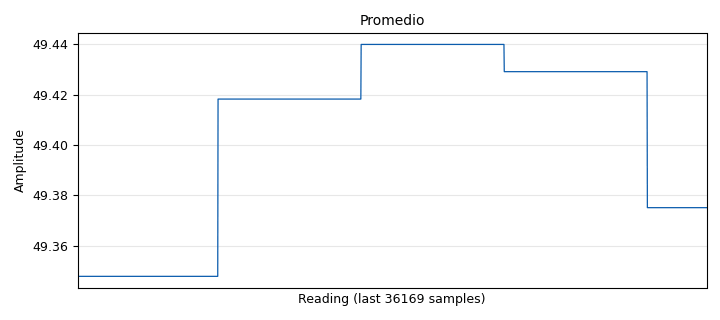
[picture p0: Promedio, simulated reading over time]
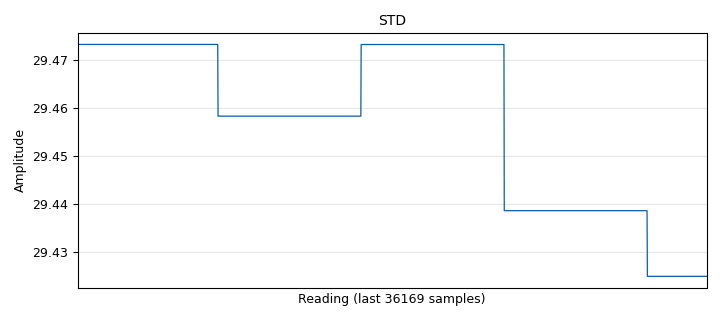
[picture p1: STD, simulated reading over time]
options:
  parameters:
    generate_options: qt_gui
    id: Practica_1
    output_language: python
    title: Not titled yet
  states: {}

blocks:
- name: samp_rate
  id: variable
  parameters:
    value: '32000'
  states: {}
- name: Promedio
  id: qtgui_number_sink
  parameters:
    graph_type: qtgui.NUM_GRAPH_HORIZ
    name: Promedio
    type: float
  states: {}
- name: STD
  id: qtgui_number_sink
  parameters:
    graph_type: qtgui.NUM_GRAPH_HORIZ
    name: STD
    type: float
  states: {}
- name: Var
  id: qtgui_number_sink
  parameters:
    graph_type: qtgui.NUM_GRAPH_HORIZ
    name: VAR
    type: float
  states: {}
- name: analog_random_source_x_0
  id: analog_random_source_x
  parameters:
    max: '100'
    min: '0'
    num_samps: '1000'
    repeat: 'True'
    type: int
  states: {}
- name: blocks_int_to_float_0
  id: blocks_int_to_float
  parameters:
    scale: '1'
  states: {}
- name: epy_block_0
  id: epy_block
  parameters:
    _source_code: |
      """
      Embedded Python Blocks:

      Each time this file is saved, GRC will instantiate the first class it finds
      to get ports and parameters of your block. The arguments to __init__  will
      be the parameters. All of them are required to have default values!
      """

      import numpy as np
      from gnuradio import gr


      class blk(gr.sync_block):  # other base classes are basic_block, decim_block, interp_block
          """Embedded Python Block example - a simple multiply const"""

          def __init__(self, example_param=1.0):  # only default arguments here
              """arguments to this function show up as parameters in GRC"""
              gr.sync_block.__init__(
                  self,
                  name='Estadistica',   # will show up in GRC
                  in_sig=[np.float32],
                  out_sig=[np.float32,np.float32,np.float32]
              )
              # if an attribute with the same name as a parameter is found,
              # a callback is registered (properties work, too).
              self.example_param = example_param
              self.acum_anterior=0

          def work(self, input_items, output_items):
              """example: multiply with constant"""

              ##----------------------------------Creating the algorithm------------------------------

              In=input_items[0] #---------------Selecting the input wanted------------------------
              Promedio=output_items[0] #-------------Selecting the output wanted------------------------
              DesviacionStandar=output_items[1]
              Varianza=output_items[2]


              #----------------------------Process-----------------------------------

              Promedio[:]=np.mean(In)
              DesviacionStandar[:]=np.std(In)
              Varianza[:]=np.var(In)
              

              


             
              return len(In)
    example_param: '1.0'
  states: {}

connections:
- [analog_random_source_x_0, '0', blocks_int_to_float_0, '0']
- [blocks_int_to_float_0, '0', epy_block_0, '0']
- [epy_block_0, '0', Promedio, '0']
- [epy_block_0, '1', STD, '0']
- [epy_block_0, '2', Var, '0']

metadata:
  file_format: 1
  grc_version: 3.10.9.2
